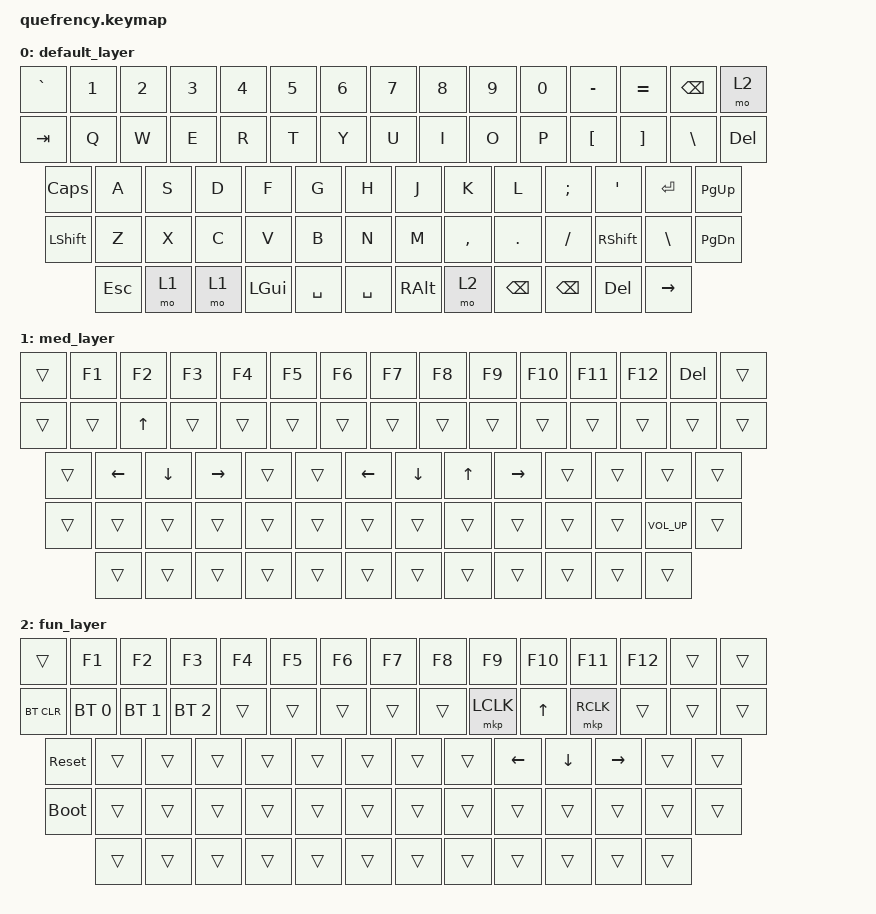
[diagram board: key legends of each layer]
/*
 * Copyright (c) 2020 The ZMK Contributors
 *
 * SPDX-License-Identifier: MIT
 */

#include <behaviors.dtsi>
#include <dt-bindings/zmk/bt.h>
#include <dt-bindings/zmk/keys.h>
#include <dt-bindings/zmk/mouse.h>
 
#define DEFAULT 0
#define MED   1
#define FUN   2

/ {
    keymap {
        compatible = "zmk,keymap";

        // ----------------------------------------------      -----------------------------------------------------
        // | ESC  |  1   |  2  |  3   |  4  |  5  |  6  |      |  7  |  8  |  9  |  0  |  -  |  =  |  BKSPC |  `   |
        // | TAB   |  Q   |  W  |  E   |  R  |  T  |        |  Y  |  U  |  I  |  O  |  P  |  [  |  ]  |  \  | DEL  |
        // | CAPS  |  A   |  S  |  D   |  F  |  G  |        |  H  |  J  |  K  |  L  |  ;  |  '  |   ENTER  | PGUP |
        // | SHIFT   |  Z   |  X  |  C  |  V   |  B  |        |  N  |  M  |  ,  |  .  |  /  |  RSHFT  |  UP | PGDN |
        // |  LCTRL   | LGUI | LALT  | FN|   SPACE  |        |    SPACE    | RALT | FN | RCTRL | LFT | DWN | RGHT |
        // -------------------------------------------        ------------------------------------------------------

        default_layer {
            bindings = <
&kp GRAVE    &kp N1           &kp N2               &kp N3         &kp N4          &kp N5         &kp N6       &kp N7     &kp N8  &kp N9     &kp N0   &kp MINUS  &kp EQUAL             &kp BSPC            &mo 2
&kp TAB                     &kp Q                &kp W          &kp E           &kp R          &kp T               &kp Y      &kp U   &kp I      &kp O    &kp P      &kp LBKT              &kp RBKT  &kp BSLH                 &kp DEL
&kp CAPS                    &kp A                &kp S          &kp D           &kp F          &kp G        &kp H      &kp J   &kp K      &kp L    &kp SEMI   &kp SQT               &kp RET             &kp PG_UP
&kp LSHFT                   &kp Z                &kp X          &kp C           &kp V          &kp B        &kp N      &kp M   &kp COMMA  &kp DOT  &kp FSLH              &kp RSHFT            &kp BSLH    &kp PAGE_DOWN
&kp ESC  &mo 1              &mo 1   &kp LEFT_GUI   &kp SPACE       &kp SPACE                      &kp RIGHT_ALT   &mo 2   &kp BSPC  &kp BSPC            &kp DEL       &kp RIGHT

            >;
        };

        med_layer {
            bindings = <
&trans  &kp F1          &kp F2            &kp F3            &kp F4             &kp F5          &kp F6    &kp F7      &kp F8    &kp F9      &kp F10     &kp F11       &kp F12               &kp DEL                &trans
&trans             &trans            &kp UP            &trans             &trans          &trans            &trans      &trans    &trans      &trans      &trans        &trans                &trans   &trans                      &trans
&trans                     &kp LEFT          &kp DOWN          &kp RIGHT          &trans          &trans    &kp LEFT  &kp DOWN  &kp UP  &kp RIGHT  &trans &trans          &trans                 &trans
&trans                     &trans            &trans            &trans             &trans          &trans    &trans      &trans    &trans      &trans      &trans                      &trans           &kp C_VOL_UP  &trans
&trans     &trans          &trans            &trans           &trans        &trans         &trans       &trans        &trans                &trans                 &trans  &trans
            >;
           
        };

        fun_layer {
            bindings = <
&trans   &kp F1                &kp F2                &kp F3                &kp F4          &kp F5          &kp F6       &kp F7  &kp F8  &kp F9  &kp F10  &kp F11  &kp F12          &trans              &trans
&bt BT_CLR           &bt BT_SEL 0          &bt BT_SEL 1          &bt BT_SEL 2          &trans          &trans               &trans  &trans  &trans  &mkp LCLK   &kp UP   &mkp RCLK           &trans      &trans          &trans
&sys_reset                         &trans                &trans                &trans          &trans          &trans       &trans  &trans  &trans   &kp LEFT   &kp DOWN           &kp RIGHT          &trans   &trans 
&bootloader                        &trans                &trans                &trans          &trans          &trans       &trans  &trans  &trans  &trans   &trans            &trans              &trans  &trans
&trans     &trans          &trans            &trans           &trans        &trans         &trans       &trans        &trans                &trans                 &trans  &trans
            >;
        };
    };
};
// &trans       &trans                &trans                                      &trans                          &soft_off    &trans                  &trans   &trans   &trans           &trans              &trans  &trans
